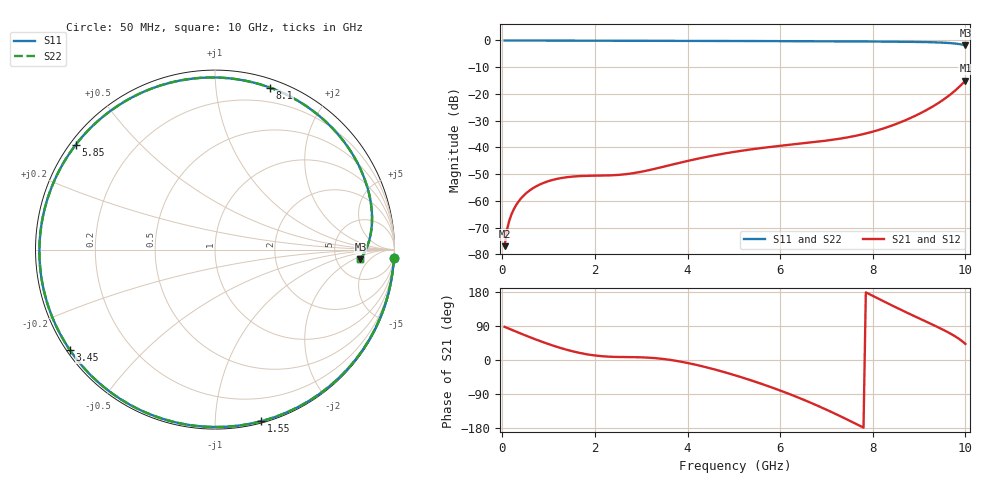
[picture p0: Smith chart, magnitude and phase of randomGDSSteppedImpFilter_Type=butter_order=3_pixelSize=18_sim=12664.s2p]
! freq	dB(S11)	phase(S11)	dB(S12)	phase(S12)
!  dB(S21)	phase(S21)	dB(S22)	phase(S22)
!S-par simulation data
#  GHz  S  DB  R 50
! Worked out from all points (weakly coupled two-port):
!   200 points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, 50 MHz to 10 GHz, reference 50 ohm
!   highest |S21| = -15.05 dB at 10 GHz (marker M1); lowest = -77.0 dB at 50 MHz (marker M2)
!   lowest |S11| = -1.8 dB at 10 GHz (marker M3), VSWR 9.66, Z = 439 - j137 ohm
!   |S11| at or under -10 dB: nowhere
!   |S22| runs from -1.8 to 0.0 dB; largest |S21 - S12| = 0
!   S11 on the Smith chart (normalised r, x): 50 MHz: 1, -43; 1.55 GHz: 0.01, -1.31; 3.45 GHz: 0.01, -0.31; 5.85 GHz: 0.02, +0.33; 8.1 GHz: 0.07, +1.39; 10 GHz: 8.79, -2.75
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0.05  -0.01 -2.7  -76.96 87.4  -76.96 87.4  -0.01 -2.7
0.1  -0.02 -5.2  -70.96 84.9  -70.96 84.9  -0.02 -5.2
0.2  -0.03 -10.3  -64.99 79.8  -64.99 79.8  -0.03 -10.3
0.3  -0.03 -15.4  -61.56 74.7  -61.56 74.7  -0.03 -15.4
0.45  -0.04 -22.9  -58.23 67.2  -58.23 67.2  -0.04 -22.9
0.9  -0.06 -45.1  -53.23 46.2  -53.23 46.2  -0.06 -45.1
1.55  -0.09 -74.9  -50.89 22.0  -50.89 22.0  -0.09 -74.9
1.75  -0.09 -83.4  -50.69 16.8  -50.69 16.8  -0.09 -83.4
2.5  -0.12 -112.9  -50.32 8.0  -50.32 8.0  -0.12 -112.9
3.4  -0.15 -143.8  -47.59 3.8  -47.59 3.8  -0.15 -143.8
3.45  -0.15 -145.4  -47.38 3.1  -47.38 3.1  -0.15 -145.4
4.25  -0.18 -170.1  -44.13 -14.6  -44.13 -14.6  -0.18 -170.1
5.05  -0.21 166.4  -41.58 -41.2  -41.58 -41.2  -0.21 166.4
5.85  -0.25 143.0  -39.72 -73.8  -39.72 -73.8  -0.25 143.0
6.7  -0.30 117.3  -38.10 -114.9  -38.10 -114.9  -0.30 117.3
7.4  -0.35 95.0  -36.43 -154.2  -36.43 -154.2  -0.35 95.0
8.1  -0.42 71.2  -33.63 163.0  -33.63 163.0  -0.42 71.3
8.35  -0.45 62.4  -32.24 147.8  -32.24 147.8  -0.45 62.4
8.85  -0.54 44.1  -28.74 118.5  -28.74 118.5  -0.54 44.1
9.35  -0.72 24.6  -24.14 89.9  -24.14 89.9  -0.72 24.6
9.7  -1.04 9.8  -19.89 68.1  -19.89 68.1  -1.04 9.7
10  -1.81 -3.8  -15.05 42.4  -15.05 42.4  -1.81 -3.8
